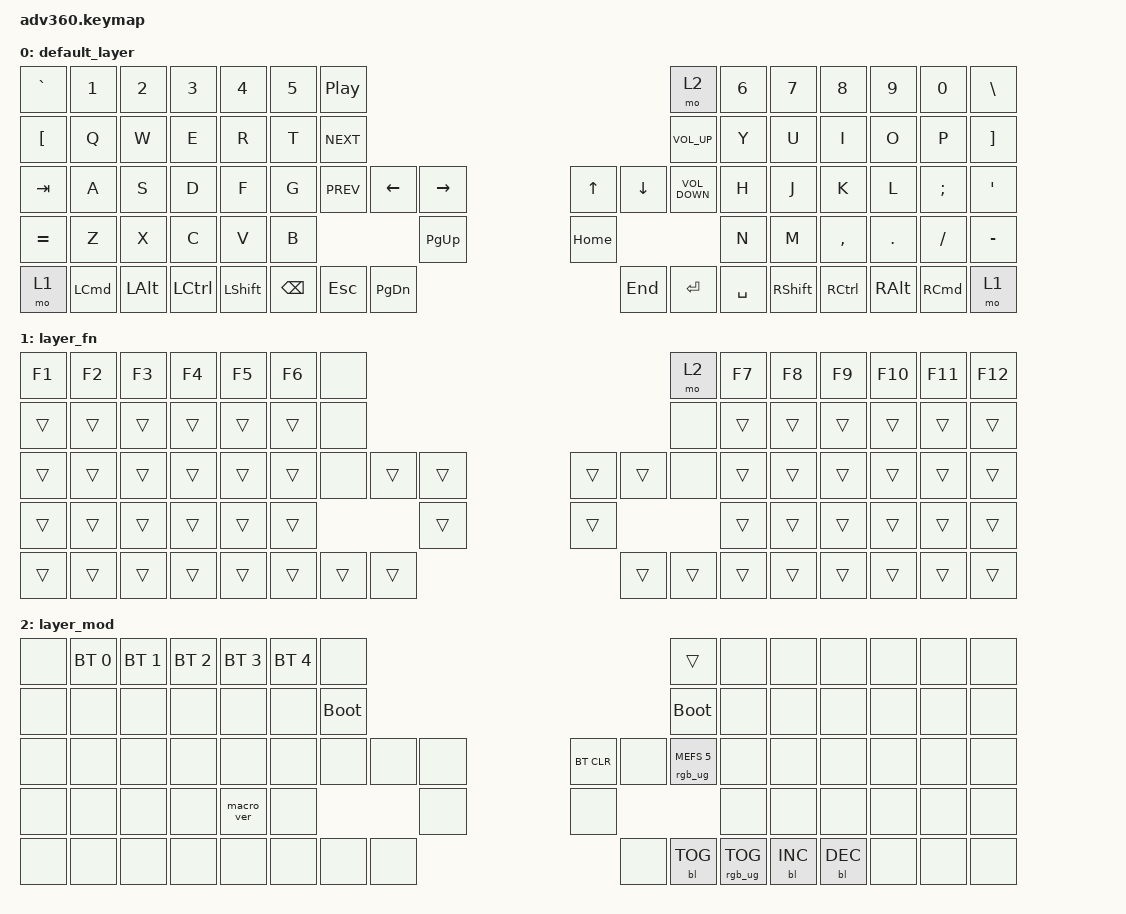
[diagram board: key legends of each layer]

/*
 * Copyright (c) 2020 The ZMK Contributors
 *
 * SPDX-License-Identifier: MIT
 */


/* THIS FILE WAS GENERATED!
 *
 * This file was generated automatically. You may or may not want to
 * edit it directly.
 */

#include <behaviors.dtsi>
#include <dt-bindings/zmk/keys.h>
#include <dt-bindings/zmk/bt.h>
#include <dt-bindings/zmk/rgb.h>
#include <dt-bindings/zmk/backlight.h>

/ {
  behaviors {
    #include "macros.dtsi"
    #include "version.dtsi"

    hm: homerow_mods {
        compatible = "zmk,behavior-hold-tap";
        label = "HOMEROW_MODS";
        #binding-cells = <2>;
        tapping-term-ms = <200>;
        quick_tap_ms = <175>;
        flavor = "tap-preferred";
        bindings = <&kp>, <&kp>;
    };
  };

    keymap {
        compatible = "zmk,keymap";


        default_layer {
            bindings = <
        &kp GRAVE            &kp N1        &kp N2            &kp N3          &kp N4  &kp N5            &kp C_PLAY_PAUSE                                                                                             &mo 2  &kp N6           &kp N7             &kp N8         &kp N9             &kp N0      &kp BACKSLASH
 &kp LEFT_BRACKET             &kp Q         &kp W             &kp E           &kp R   &kp T                  &kp C_NEXT                                                                                   &kp C_VOLUME_UP   &kp Y            &kp U              &kp I          &kp O              &kp P  &kp RIGHT_BRACKET
          &kp TAB             &kp A         &kp S             &kp D           &kp F   &kp G                  &kp C_PREV  &kp LEFT_ARROW  &kp RIGHT_ARROW                  &kp UP_ARROW  &kp DOWN_ARROW  &kp C_VOLUME_DOWN   &kp H            &kp J              &kp K          &kp L           &kp SEMI   &kp SINGLE_QUOTE
        &kp EQUAL             &kp Z         &kp X             &kp C           &kp V   &kp B                                                  &kp PAGE_UP                      &kp HOME                                      &kp N            &kp M          &kp COMMA        &kp DOT           &kp FSLH          &kp MINUS
            &mo 1  &kp LEFT_COMMAND  &kp LEFT_ALT  &kp LEFT_CONTROL  &kp LEFT_SHIFT                            &kp BSPC      &kp ESCAPE    &kp PAGE_DOWN                       &kp END       &kp ENTER          &kp SPACE          &kp RIGHT_SHIFT  &kp RIGHT_CONTROL  &kp RIGHT_ALT  &kp RIGHT_COMMAND              &mo 1
            >;
        };

        layer_fn {
            bindings = <
 &kp F1  &kp F2  &kp F3  &kp F4  &kp F5  &kp F6             &none                                                   &mo 2  &kp F7  &kp F8  &kp F9  &kp F10  &kp F11  &kp F12
 &trans  &trans  &trans  &trans  &trans  &trans             &none                                                   &none  &trans  &trans  &trans   &trans   &trans   &trans
 &trans  &trans  &trans  &trans  &trans  &trans             &none  &trans  &trans                  &trans  &trans   &none  &trans  &trans  &trans   &trans   &trans   &trans
 &trans  &trans  &trans  &trans  &trans  &trans                            &trans                  &trans                  &trans  &trans  &trans   &trans   &trans   &trans
 &trans  &trans  &trans  &trans  &trans                    &trans  &trans  &trans                  &trans  &trans  &trans          &trans  &trans   &trans   &trans   &trans
            >;
        };

        layer_mod {
            bindings = <
  &none  &bt BT_SEL 0  &bt BT_SEL 1  &bt BT_SEL 2  &bt BT_SEL 3  &bt BT_SEL 4                  &none                                                                          &trans   &none       &none       &none   &none   &none   &none
  &none         &none         &none         &none         &none         &none            &bootloader                                                                     &bootloader   &none       &none       &none   &none   &none   &none
  &none         &none         &none         &none         &none         &none                  &none   &none   &none                  &bt BT_CLR       &none  &rgb_ug RGB_MEFS_CMD 5   &none       &none       &none   &none   &none   &none
  &none         &none         &none         &none    &macro_ver         &none                                  &none                       &none                                       &none       &none       &none   &none   &none   &none
  &none         &none         &none         &none         &none                                &none   &none   &none                       &none  &bl BL_TOG         &rgb_ug RGB_TOG          &bl BL_INC  &bl BL_DEC   &none   &none   &none
            >;
        };

    };
};
